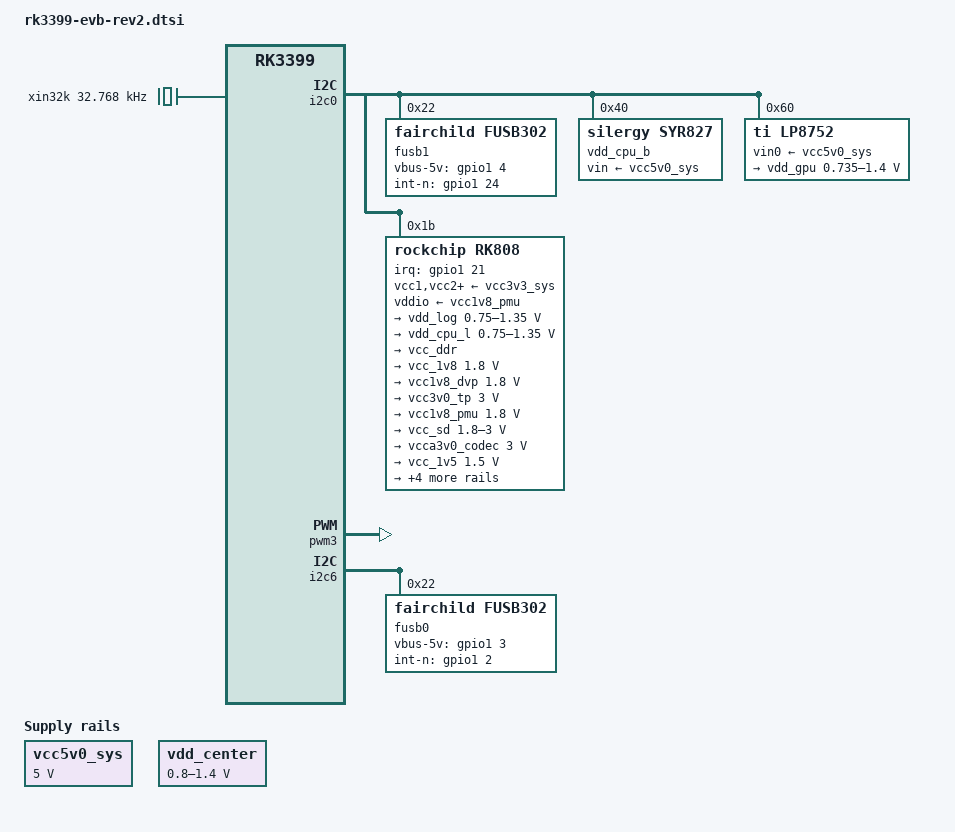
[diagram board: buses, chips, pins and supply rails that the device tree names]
// SPDX-License-Identifier: (GPL-2.0+ OR MIT)
/*
 * Copyright (c) 2022 Rockchip Electronics Co., Ltd.
 *
 */

#include "rk3399-evb.dtsi"
#include "rk3399-early-opp.dtsi"

/ {
	compatible = "rockchip,rk3399-evb-rev2", "rockchip,rk3399";

	vcc5v0_sys: vcc5v0-sys {
		compatible = "regulator-fixed";
		regulator-name = "vcc5v0_sys";
		regulator-always-on;
		regulator-boot-on;
		regulator-min-microvolt = <5000000>;
		regulator-max-microvolt = <5000000>;
	};

	vdd_center: vdd-center {
		compatible = "pwm-regulator";
		rockchip,pwm_id = <3>;
		rockchip,pwm_voltage = <900000>;
		pwms = <&pwm3 0 25000 1>;
		regulator-name = "vdd_center";
		regulator-min-microvolt = <800000>;
		regulator-max-microvolt = <1400000>;
		regulator-always-on;
		regulator-boot-on;
	};

	xin32k: xin32k {
		compatible = "fixed-clock";
		clock-frequency = <32768>;
		clock-output-names = "xin32k";
		#clock-cells = <0>;
	};
};

&cpu_l0 {
	dynamic-power-coefficient = <121>;
};

&cpu_b0 {
	dynamic-power-coefficient = <1068>;
};

&soc_thermal {
	sustainable-power = <1600>; /* milliwatts */

	cooling-maps {
		map0 {
			trip = <&target>;
			cooling-device =
				<&cpu_l0 THERMAL_NO_LIMIT THERMAL_NO_LIMIT>;
			contribution = <10240>;
		};
		map1 {
			trip = <&target>;
			cooling-device =
				<&cpu_b0 THERMAL_NO_LIMIT THERMAL_NO_LIMIT>;
			contribution = <1024>;
		};
		map2 {
			trip = <&target>;
			cooling-device =
				<&gpu THERMAL_NO_LIMIT THERMAL_NO_LIMIT>;
			contribution = <10240>;
		};
	};
};

&gpu_power_model {
	dynamic-power = <1780>;
};

&i2c0 {
	fusb1: fusb30x@22 {
		compatible = "fairchild,fusb302";
		reg = <0x22>;
		pinctrl-names = "default";
		pinctrl-0 = <&fusb1_int>;
		vbus-5v-gpios = <&gpio1 4 GPIO_ACTIVE_HIGH>;
		int-n-gpios = <&gpio1 24 GPIO_ACTIVE_HIGH>;
		status = "okay";
	};

	vdd_cpu_b: syr827@40 {
		compatible = "silergy,syr827";
		reg = <0x40>;
		vin-supply = <&vcc5v0_sys>;
		regulator-compatible = "fan53555-reg";
		regulator-name = "vdd_cpu_b";
		regulator-min-microvolt = <712500>;
		regulator-max-microvolt = <1500000>;
		regulator-ramp-delay = <1000>;
		fcs,suspend-voltage-selector = <1>;
		regulator-always-on;
		regulator-boot-on;
		regulator-initial-state = <3>;
			regulator-state-mem {
			regulator-off-in-suspend;
		};
	};

	lp8752: lp8752@60 {
		compatible = "ti,lp8752";
		reg = <0x60>;
		vin0-supply = <&vcc5v0_sys>;
		regulators {
			vdd_gpu: lp8752_buck0 {
				regulator-name = "vdd_gpu";
				regulator-min-microvolt = <735000>;
				regulator-max-microvolt = <1400000>;
				regulator-ramp-delay = <6000>;
				regulator-always-on;
				regulator-boot-on;
			};
		};
	};

	rk808: pmic@1b {
		compatible = "rockchip,rk808";
		reg = <0x1b>;
		interrupt-parent = <&gpio1>;
		interrupts = <21 IRQ_TYPE_LEVEL_LOW>;
		pinctrl-names = "default";
		pinctrl-0 = <&pmic_int_l &pmic_dvs2>;
		rockchip,system-power-controller;
		wakeup-source;
		#clock-cells = <1>;
		clock-output-names = "rk808-clkout1", "rk808-clkout2";

		vcc1-supply = <&vcc3v3_sys>;
		vcc2-supply = <&vcc3v3_sys>;
		vcc3-supply = <&vcc3v3_sys>;
		vcc4-supply = <&vcc3v3_sys>;
		vcc6-supply = <&vcc3v3_sys>;
		vcc7-supply = <&vcc3v3_sys>;
		vcc8-supply = <&vcc3v3_sys>;
		vcc9-supply = <&vcc3v3_sys>;
		vcc10-supply = <&vcc3v3_sys>;
		vcc11-supply = <&vcc3v3_sys>;
		vcc12-supply = <&vcc3v3_sys>;
		vddio-supply = <&vcc1v8_pmu>;

		regulators {
			vdd_log: DCDC_REG1 {
				regulator-always-on;
				regulator-boot-on;
				regulator-min-microvolt = <750000>;
				regulator-max-microvolt = <1350000>;
				regulator-ramp-delay = <6001>;
				regulator-name = "vdd_log";
				regulator-state-mem {
					regulator-on-in-suspend;
					regulator-suspend-microvolt = <900000>;
				};
			};

			vdd_cpu_l: DCDC_REG2 {
				regulator-always-on;
				regulator-boot-on;
				regulator-min-microvolt = <750000>;
				regulator-max-microvolt = <1350000>;
				regulator-ramp-delay = <6001>;
				regulator-name = "vdd_cpu_l";
				regulator-state-mem {
					regulator-off-in-suspend;
				};
			};

			vcc_ddr: DCDC_REG3 {
				regulator-always-on;
				regulator-boot-on;
				regulator-name = "vcc_ddr";
				regulator-state-mem {
					regulator-on-in-suspend;
				};
			};

			vcc_1v8: DCDC_REG4 {
				regulator-always-on;
				regulator-boot-on;
				regulator-min-microvolt = <1800000>;
				regulator-max-microvolt = <1800000>;
				regulator-name = "vcc_1v8";
				regulator-state-mem {
					regulator-on-in-suspend;
					regulator-suspend-microvolt = <1800000>;
				};
			};

			vcc1v8_dvp: LDO_REG1 {
				regulator-always-on;
				regulator-boot-on;
				regulator-min-microvolt = <1800000>;
				regulator-max-microvolt = <1800000>;
				regulator-name = "vcc1v8_dvp";
				regulator-state-mem {
					regulator-off-in-suspend;
				};
			};

			vcc3v0_tp: LDO_REG2 {
				regulator-always-on;
				regulator-boot-on;
				regulator-min-microvolt = <3000000>;
				regulator-max-microvolt = <3000000>;
				regulator-name = "vcc3v0_tp";
				regulator-state-mem {
					regulator-off-in-suspend;
				};
			};

			vcc1v8_pmu: LDO_REG3 {
				regulator-always-on;
				regulator-boot-on;
				regulator-min-microvolt = <1800000>;
				regulator-max-microvolt = <1800000>;
				regulator-name = "vcc1v8_pmu";
				regulator-state-mem {
					regulator-on-in-suspend;
					regulator-suspend-microvolt = <1800000>;
				};
			};

			vcc_sd: LDO_REG4 {
				regulator-always-on;
				regulator-boot-on;
				regulator-min-microvolt = <1800000>;
				regulator-max-microvolt = <3000000>;
				regulator-name = "vcc_sd";
				regulator-state-mem {
					regulator-on-in-suspend;
					regulator-suspend-microvolt = <3000000>;
				};
			};

			vcca3v0_codec: LDO_REG5 {
				regulator-always-on;
				regulator-boot-on;
				regulator-min-microvolt = <3000000>;
				regulator-max-microvolt = <3000000>;
				regulator-name = "vcca3v0_codec";
				regulator-state-mem {
					regulator-off-in-suspend;
				};
			};

			vcc_1v5: LDO_REG6 {
				regulator-always-on;
				regulator-boot-on;
				regulator-min-microvolt = <1500000>;
				regulator-max-microvolt = <1500000>;
				regulator-name = "vcc_1v5";
				regulator-state-mem {
					regulator-on-in-suspend;
					regulator-suspend-microvolt = <1500000>;
				};
			};

			vcca1v8_codec: LDO_REG7 {
				regulator-always-on;
				regulator-boot-on;
				regulator-min-microvolt = <1800000>;
				regulator-max-microvolt = <1800000>;
				regulator-name = "vcca1v8_codec";
				regulator-state-mem {
					regulator-off-in-suspend;
				};
			};

			vcc_3v0: LDO_REG8 {
				regulator-always-on;
				regulator-boot-on;
				regulator-min-microvolt = <3000000>;
				regulator-max-microvolt = <3000000>;
				regulator-name = "vcc_3v0";
				regulator-state-mem {
					regulator-on-in-suspend;
					regulator-suspend-microvolt = <3000000>;
				};
			};

			vcc3v3_s3: SWITCH_REG1 {
				regulator-always-on;
				regulator-boot-on;
				regulator-name = "vcc3v3_s3";
				regulator-state-mem {
					regulator-off-in-suspend;
				};
			};

			vcc3v3_s0: SWITCH_REG2 {
				regulator-always-on;
				regulator-boot-on;
				regulator-name = "vcc3v3_s0";
				regulator-state-mem {
					regulator-off-in-suspend;
				};
			};
		};
	};
};

&pwm3 {
	status = "okay";
	pinctrl-names = "active";
	pinctrl-0 = <&pwm3a_pin_pull_down>;
};

&u2phy0_otg {
	rockchip,utmi-avalid;
};

&i2c6 {
	status = "okay";
	fusb0: fusb30x@22 {
		compatible = "fairchild,fusb302";
		reg = <0x22>;
		pinctrl-names = "default";
		pinctrl-0 = <&fusb0_int>;
		vbus-5v-gpios = <&gpio1 3 GPIO_ACTIVE_HIGH>;
		int-n-gpios = <&gpio1 2 GPIO_ACTIVE_HIGH>;
		status = "okay";
	};
};
